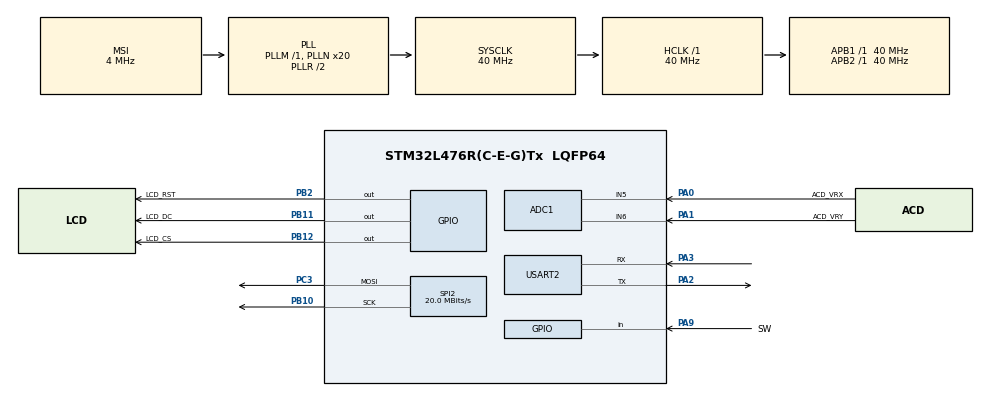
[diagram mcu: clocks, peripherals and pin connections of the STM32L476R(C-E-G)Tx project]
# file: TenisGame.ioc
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ADC1.Channel-0\#ChannelRegularConversion=ADC_CHANNEL_5
ADC1.Channel-1\#ChannelRegularConversion=ADC_CHANNEL_6
ADC1.ContinuousConvMode=ENABLE
ADC1.DMAContinuousRequests=ENABLE
ADC1.NbrOfConversion=2
ADC1.NbrOfConversionFlag=1
ADC1.OffsetNumber-0\#ChannelRegularConversion=ADC_OFFSET_NONE
ADC1.OffsetNumber-1\#ChannelRegularConversion=ADC_OFFSET_NONE
ADC1.Overrun=ADC_OVR_DATA_OVERWRITTEN
ADC1.OversamplingMode=ENABLE
ADC1.Rank-0\#ChannelRegularConversion=1
ADC1.Rank-1\#ChannelRegularConversion=2
ADC1.Ratio=ADC_OVERSAMPLING_RATIO_16
ADC1.RightBitShift=ADC_RIGHTBITSHIFT_4
ADC1.SamplingTime-0\#ChannelRegularConversion=ADC_SAMPLETIME_640CYCLES_5
ADC1.SamplingTime-1\#ChannelRegularConversion=ADC_SAMPLETIME_640CYCLES_5
ADC1.master=1
Dma.ADC1.1.Direction=DMA_PERIPH_TO_MEMORY
Dma.ADC1.1.Instance=DMA1_Channel1
Dma.ADC1.1.MemDataAlignment=DMA_MDATAALIGN_HALFWORD
Dma.ADC1.1.MemInc=DMA_MINC_ENABLE
Dma.ADC1.1.Mode=DMA_CIRCULAR
Dma.ADC1.1.PeriphDataAlignment=DMA_PDATAALIGN_HALFWORD
Dma.ADC1.1.PeriphInc=DMA_PINC_DISABLE
Dma.ADC1.1.Priority=DMA_PRIORITY_LOW
Dma.Request0=SPI2_TX
Dma.Request1=ADC1
Dma.SPI2_TX.0.Direction=DMA_MEMORY_TO_PERIPH
Dma.SPI2_TX.0.Instance=DMA1_Channel5
Dma.SPI2_TX.0.MemDataAlignment=DMA_MDATAALIGN_BYTE
Dma.SPI2_TX.0.MemInc=DMA_MINC_ENABLE
Dma.SPI2_TX.0.Mode=DMA_NORMAL
Dma.SPI2_TX.0.PeriphDataAlignment=DMA_PDATAALIGN_BYTE
Dma.SPI2_TX.0.PeriphInc=DMA_PINC_DISABLE
Dma.SPI2_TX.0.Priority=DMA_PRIORITY_LOW
Mcu.Family=STM32L4
Mcu.Name=STM32L476R(C-E-G)Tx
Mcu.Package=LQFP64
NVIC.DMA1_Channel1_IRQn=true\:2\:0\:true\:false\:true\:true\:true\:true
NVIC.DMA1_Channel5_IRQn=true\:2\:0\:true\:false\:true\:true\:true\:true
NVIC.PriorityGroup=NVIC_PRIORITYGROUP_4
PA0.GPIO_Label=ACD_VRX
PA0.Signal=ADCx_IN5
PA1.GPIO_Label=ACD_VRY
PA1.Signal=ADCx_IN6
PA13\ (JTMS-SWDIO).Mode=Serial_Wire
PA13\ (JTMS-SWDIO).Signal=SYS_JTMS-SWDIO
PA14\ (JTCK-SWCLK).Mode=Serial_Wire
PA14\ (JTCK-SWCLK).Signal=SYS_JTCK-SWCLK
PA2.Mode=Asynchronous
PA2.Signal=USART2_TX
PA3.Mode=Asynchronous
PA3.Signal=USART2_RX
PA9.GPIO_Label=SW
PA9.Signal=GPIO_Input
PB10.Mode=TX_Only_Simplex_Unidirect_Master
PB10.Signal=SPI2_SCK
PB11.GPIO_Label=LCD_DC
PB11.Signal=GPIO_Output
PB12.GPIO_Label=LCD_CS
PB12.Signal=GPIO_Output
PB2.GPIO_Label=LCD_RST
PB2.Signal=GPIO_Output
PC3.Mode=TX_Only_Simplex_Unidirect_Master
PC3.Signal=SPI2_MOSI
PH0-OSC_IN\ (PH0).Mode=HSE-External-Oscillator
PH0-OSC_IN\ (PH0).Signal=RCC_OSC_IN
PH1-OSC_OUT\ (PH1).Mode=HSE-External-Oscillator
PH1-OSC_OUT\ (PH1).Signal=RCC_OSC_OUT
ProjectManager.HeapSize=0x200
ProjectManager.StackSize=0x2000
ProjectManager.TargetToolchain=STM32CubeIDE
RCC.ADCFreq_Value=32000000
RCC.AHBFreq_Value=40000000
RCC.APB1Freq_Value=40000000
RCC.APB1TimFreq_Value=40000000
RCC.APB2Freq_Value=40000000
RCC.APB2TimFreq_Value=40000000
RCC.CortexFreq_Value=40000000
RCC.HCLKFreq_Value=40000000
RCC.HSE_VALUE=48000000
RCC.HSI_VALUE=16000000
RCC.LSE_VALUE=32768
RCC.MSI_VALUE=4000000
RCC.PLLN=20
RCC.PLLSAI1N=16
RCC.SYSCLKFreq_VALUE=40000000
RCC.SYSCLKSource=RCC_SYSCLKSOURCE_PLLCLK
RCC.USBFreq_Value=32000000
RCC.VCOOutputFreq_Value=80000000
SH.ADCx_IN5.0=ADC1_IN5,IN5-Single-Ended
SH.ADCx_IN6.0=ADC1_IN6,IN6-Single-Ended
SPI2.BaudRatePrescaler=SPI_BAUDRATEPRESCALER_2
SPI2.CLKPhase=SPI_PHASE_1EDGE
SPI2.CLKPolarity=SPI_POLARITY_LOW
SPI2.CalculateBaudRate=20.0 MBits/s
SPI2.DataSize=SPI_DATASIZE_8BIT
SPI2.Direction=SPI_DIRECTION_2LINES
SPI2.Mode=SPI_MODE_MASTER
SPI2.NSSPMode=SPI_NSS_PULSE_ENABLE
SPI2.VirtualType=VM_MASTER
USART2.VirtualMode-Asynchronous=VM_ASYNC
VP_ADC1_Vref_Input.Mode=IN-Vrefint
board=custom

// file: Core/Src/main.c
/* USER CODE BEGIN Header */
/**
  ******************************************************************************
  * @file           : main.c
  * @brief          : Main program body
  ******************************************************************************
  * @attention
  *
  * Copyright (c) 2025 STMicroelectronics.
  * All rights reserved.
  *
  * This software is licensed under terms that can be found in the LICENSE file
  * in the root directory of this software component.
  * If no LICENSE file comes with this software, it is provided AS-IS.
  *
  ******************************************************************************
  */
/* USER CODE END Header */
#include "main.h"
#include "adc.h"
#include "dma.h"
#include "spi.h"
#include "usart.h"
#include "gpio.h"

/* USER CODE BEGIN Includes */
#include "hagl.h"
#include "font6x9.h"
#include "rgb565.h"
#include <stdio.h>
#include "icd.h"
#include "hagl_hal.h"
#include <wchar.h>
/* USER CODE END Includes */

/* USER CODE BEGIN PD */
#define PATFORM_START_PIXEL 79
#define BALL_START_PIXEL_X 81
#define BALL_START_PIXEL_Y 45
/* USER CODE END PD */

/* USER CODE BEGIN PV */
struct direction {
	uint16_t valueOX;
	uint16_t valueOY;
	int DirectionOX;
	int DirectionOY;
	int loss;
	int ballSpeed;
};
int threeBestScores[] = {0, 0 ,0};
/* USER CODE END PV */

void SystemClock_Config(void);

/* USER CODE BEGIN 0 */
void HAL_SPI_TxCpltCallback(SPI_HandleTypeDef *hspi)
{
	if (hspi == &hspi2)
	{
		lcd_transfer_done();
	}
}

int __io_putchar(int ch)
{
  if (ch == '\n') {
    __io_putchar('\r');
  }

  HAL_UART_Transmit(&huart2, (uint8_t*)&ch, 1, HAL_MAX_DELAY);

  return 1;
}
/* USER CODE END 0 */

int main(void)
{

  /* MCU Configuration--------------------------------------------------------*/

  /* Reset of all peripherals, Initializes the Flash interface and the Systick. */
  HAL_Init();

  /* Configure the system clock */
  SystemClock_Config();

  /* Initialize all configured peripherals */
  MX_GPIO_Init();
  MX_DMA_Init();
  MX_SPI2_Init();
  MX_ADC1_Init();
  MX_USART2_UART_Init();

  /* Infinite loop */
  /* USER CODE BEGIN WHILE */

  while(1) {
	  // Variables - they need to be in main function so they would be "restarted" together with game
	  wchar_t scoreBuffer[20];
	  wchar_t bestScorebuffer[5];
	  wchar_t secdScorebuffer[5];
	  wchar_t thrdScorebuffer[5];
	  int score = 0;
	  volatile static uint16_t joystick[2];
	  const wchar_t* text1 = L"Hello! Press JoyStick";
	  const wchar_t* text2 = L"to start the game :)";
	  const wchar_t* text3 = L"Game Over. Your score:";
	  const wchar_t* text4;
	  const wchar_t* text5 = L"Press JoyStick to restart";
	  const wchar_t* text6 = L"the game.";
	  const wchar_t* text7 = L"The best 3 scores yet:";
	  const wchar_t* text9 = L"No. 1:";
	  const wchar_t* text10 = L"No. 2:";
	  const wchar_t* text11 = L"No. 3:";
	  uint16_t platformPosition = PATFORM_START_PIXEL;
	  uint16_t ballPositionOX = BALL_START_PIXEL_X;
	  uint16_t ballPositionOY = BALL_START_PIXEL_Y;
	  uint16_t platformSpeed = SPEED_NO_1;
	  uint16_t ballSpeed = SPEED_NO_1;
	  uint16_t basicSpeed = SPEED_NO_1;
	  uint16_t joyStickDirection;
	  char one = '1';
	  char two = '2';
	  char three = '3';
	  const wchar_t* start = L"Start!";
	  struct direction ballDirection;

	  /* Generation of Welcome Screen */
	  lcd_init();
	  // Ramka planszy
	  HAL_ADCEx_Calibration_Start(&hadc1, ADC_SINGLE_ENDED);
	  HAL_ADC_Start_DMA(&hadc1, (uint32_t*)joystick, 2);
	  for (int i = 0; i < 5; i++) {
	    hagl_draw_rounded_rectangle(i, i, 160-i, 127-i, 0, WHITE);
	  }
	  // Wymazanie dolnej części ramki
	  hagl_fill_rectangle(4, 4, 154, 128, BLACK);
	  // Generowanie platformy
	  hagl_fill_rectangle(55, 121, 104, 124, WHITE);
	  // Tekst początkowy
	  hagl_put_text(text1, 18, 20, 0xffff, font6x9);
	  hagl_put_text(text2, 21, 30, 0xffff, font6x9);
	  lcd_copy();

	  /* If user press JoyStick, start the game */
	  while (!joyStickPressed());
	  HAL_Delay(100);
	  while (joyStickPressed());

	  /* Clear starting text */
	  hagl_fill_rectangle(5, 5, 150, 110, BLACK);

	  /* Generate ball and drop it in random direction */
	  hagl_fill_circle(BALL_START_PIXEL_X, BALL_START_PIXEL_Y, 2, WHITE);

	  lcd_copy();

	  // Wybieramy losowy startowy kierunek z jakim zacznie poruszać się piłka
	  ballDirection = chooseRandomDirection(ballPositionOX, ballPositionOY);

	  // Odlicznie
	  hagl_put_char(three, 79, 30, WHITE, font6x9);
	  HAL_Delay(1000);
	  lcd_copy();
	  hagl_put_char(two, 79, 30, WHITE, font6x9);
	  HAL_Delay(1000);
	  lcd_copy();
	  hagl_put_char(one, 79, 30, WHITE, font6x9);
	  HAL_Delay(1000);
	  lcd_copy();
	  hagl_put_text(start, 65, 30, WHITE, font6x9);
	  HAL_Delay(1000);
	  lcd_copy();
	  hagl_put_text(start, 65, 30, BLACK, font6x9);
	  HAL_Delay(100);
	  lcd_copy();

	  while (1)
	  {
		  // Przesyłamy DMA tylko wtedy kiedy zakończyło się przesyłanie poprzednich danych
		  if (lcd_is_busy() == false) {
			  // Pobieramy informacje odnośnie kierunku JoySticka
			  joyStickDirection = joyStickVRX(joystick[0]);
			  // Ruszamy platformą w zależności od położenia JoySticka
			  platformPosition = movePlatform(platformPosition, joyStickDirection, platformSpeed);
			  // Ruszay piłką
			  ballDirection = ballMovement(ballDirection.valueOX, ballDirection.valueOY, ballSpeed, ballDirection.DirectionOX, ballDirection.DirectionOY, platformPosition, ballDirection.loss, joyStickDirection, basicSpeed);
			  // Jeżeli gracz odbije piłkę to zwiększamy ilość zdobytych punktów o 1
			  if ((ballDirection.valueOY + ballSpeed > 118 && ((platformPosition - 25 < ballDirection.valueOX) && (ballDirection.valueOX < platformPosition + 25)))) {
				  score++;
			  }
			  // Jeżeli gracz przegra to wyświetlamy kończowe napisy i czekamy aż gracz zretartuje grę
			  if (ballDirection.valueOX == 0 && ballDirection.valueOY == 0 && ballDirection.DirectionOX == 0 &&ballDirection.DirectionOY == 0 && ballDirection.loss == 0) {
				  hagl_put_text(text3, 5, 20, WHITE, font6x9);
				  hagl_put_text(text4, 138, 20, WHITE, font6x9);
				  hagl_put_text(text5, 5, 30, WHITE, font6x9);
				  lcd_copy();
				  HAL_Delay(100);
				  // Sprawdzamy czy wynik gracza był jednym z 3 najlepszych - jeżeli tak to zapisujemy go w tabeli
				  for (int i = 0; i < 3; i++) {
					  if (score > threeBestScores[0]) {
						  threeBestScores[i+2] = threeBestScores[i+1];
						  threeBestScores[i+1] = threeBestScores[i];
						  threeBestScores[i] = score;
						  break;
					  }
					  else if (score > threeBestScores[1]) {
						  threeBestScores[i+2] = threeBestScores[i+1];
						  threeBestScores[i+1] = score;
						  break;
					  }
					  else if (score > threeBestScores[2]) {
						  threeBestScores[i+2] = score;
						  break;
					  }
					  else {
						  continue;
					  }
				  }
				  hagl_put_text(text3, 5, 20, WHITE, font6x9);
				  hagl_put_text(text4, 138, 20, WHITE, font6x9);
				  hagl_put_text(text5, 5, 30, WHITE, font6x9);
				  hagl_put_text(text6, 5, 40, WHITE, font6x9);
				  hagl_put_text(text7, 5, 50, WHITE, font6x9);
				  hagl_put_text(text9, 5, 60, WHITE, font6x9);
				  hagl_put_text(text10, 5, 70, WHITE, font6x9);
				  hagl_put_text(text11, 5, 80, WHITE, font6x9);
				  swprintf(bestScorebuffer, 20, L"%u", threeBestScores[0]);
				  text9 = bestScorebuffer;
				  hagl_put_text(text9, 42, 60, WHITE, font6x9);
				  swprintf(secdScorebuffer, 20, L"%u", threeBestScores[1]);
				  text10 = secdScorebuffer;
				  hagl_put_text(text10, 42, 70, WHITE, font6x9);
				  swprintf(thrdScorebuffer, 20, L"%u", threeBestScores[2]);
				  text11 = thrdScorebuffer;
				  hagl_put_text(text11, 42, 80, WHITE, font6x9);
				  lcd_copy();
				  HAL_Delay(100);
				  // If user press JoyStick they restart the game
				  while (!joyStickPressed());
				  HAL_Delay(100);
				  while (joyStickPressed());
				  break;
			  }
			  // W zależności od ilości odbić zmieniamy prędkość piłki (forma utrudnienia gry)
			  if (10 < score && score <= 20) {
				  basicSpeed = SPEED_NO_2;
			  }
			  else if (20 < score && score <= 30) {
				  basicSpeed = SPEED_NO_3;
			  }
			  else if (30 < score && score <= 40) {
				  basicSpeed = SPEED_NO_4;
			  }
			  else if (40 < score && score <= 50) {
				  basicSpeed = SPEED_NO_5;
			  }
			  else if (50 < score && score <= 60) {
				  basicSpeed = SPEED_NO_6;
			  }
			  else if (score > 60) {
				  basicSpeed = SPEED_NO_6;
			  }
			  ballSpeed = basicSpeed;
			  // Co każdą kratkę rysujemy obecny wynik
			  swprintf(scoreBuffer, 20, L"%u", score);
			  text4 = scoreBuffer;
			  hagl_put_text(text4, 78, 20, WHITE, font6x9);
			  // Aktualizujemy wartości dot. położenia piłki
			  ballPositionOX = ballDirection.valueOX;
			  ballPositionOY = ballDirection.valueOY;
			  ballSpeed = ballDirection.ballSpeed;
		  }
	  }
    /* USER CODE END WHILE */

  }
}

void SystemClock_Config(void)
{
  RCC_OscInitTypeDef RCC_OscInitStruct = {0};
  RCC_ClkInitTypeDef RCC_ClkInitStruct = {0};

  /** Configure the main internal regulator output voltage
  */
  if (HAL_PWREx_ControlVoltageScaling(PWR_REGULATOR_VOLTAGE_SCALE1) != HAL_OK)
  {
    Error_Handler();
  }

  /** Initializes the RCC Oscillators according to the specified parameters
  * in the RCC_OscInitTypeDef structure.
  */
  RCC_OscInitStruct.OscillatorType = RCC_OSCILLATORTYPE_MSI;
  RCC_OscInitStruct.MSIState = RCC_MSI_ON;
  RCC_OscInitStruct.MSICalibrationValue = 0;
  RCC_OscInitStruct.MSIClockRange = RCC_MSIRANGE_6;
  RCC_OscInitStruct.PLL.PLLState = RCC_PLL_ON;
  RCC_OscInitStruct.PLL.PLLSource = RCC_PLLSOURCE_MSI;
  RCC_OscInitStruct.PLL.PLLM = 1;
  RCC_OscInitStruct.PLL.PLLN = 20;
  RCC_OscInitStruct.PLL.PLLP = RCC_PLLP_DIV7;
  RCC_OscInitStruct.PLL.PLLQ = RCC_PLLQ_DIV2;
  RCC_OscInitStruct.PLL.PLLR = RCC_PLLR_DIV2;
  if (HAL_RCC_OscConfig(&RCC_OscInitStruct) != HAL_OK)
  {
    Error_Handler();
  }

  /** Initializes the CPU, AHB and APB buses clocks
  */
  RCC_ClkInitStruct.ClockType = RCC_CLOCKTYPE_HCLK|RCC_CLOCKTYPE_SYSCLK
                              |RCC_CLOCKTYPE_PCLK1|RCC_CLOCKTYPE_PCLK2;
  RCC_ClkInitStruct.SYSCLKSource = RCC_SYSCLKSOURCE_PLLCLK;
  RCC_ClkInitStruct.AHBCLKDivider = RCC_SYSCLK_DIV1;
  RCC_ClkInitStruct.APB1CLKDivider = RCC_HCLK_DIV1;
  RCC_ClkInitStruct.APB2CLKDivider = RCC_HCLK_DIV1;

  if (HAL_RCC_ClockConfig(&RCC_ClkInitStruct, FLASH_LATENCY_2) != HAL_OK)
  {
    Error_Handler();
  }
}

void Error_Handler(void)
{
  __disable_irq();
  while (1)
  {
  }
}
#ifdef USE_FULL_ASSERT
/**
  * @brief  Reports the name of the source file and the source line number
  *         where the assert_param error has occurred.
  * @param  file: pointer to the source file name
  * @param  line: assert_param error line source number
  * @retval None
  */
void assert_failed(uint8_t *file, uint32_t line)
{
  /* USER CODE BEGIN 6 */
  /* User can add his own implementation to report the file name and line number,
   * 9
     ex: printf("Wrong parameters value: file %s on line %d\r\n", file, line) */
  /* USER CODE END 6 */
}
#endif /* USE_FULL_ASSERT */
